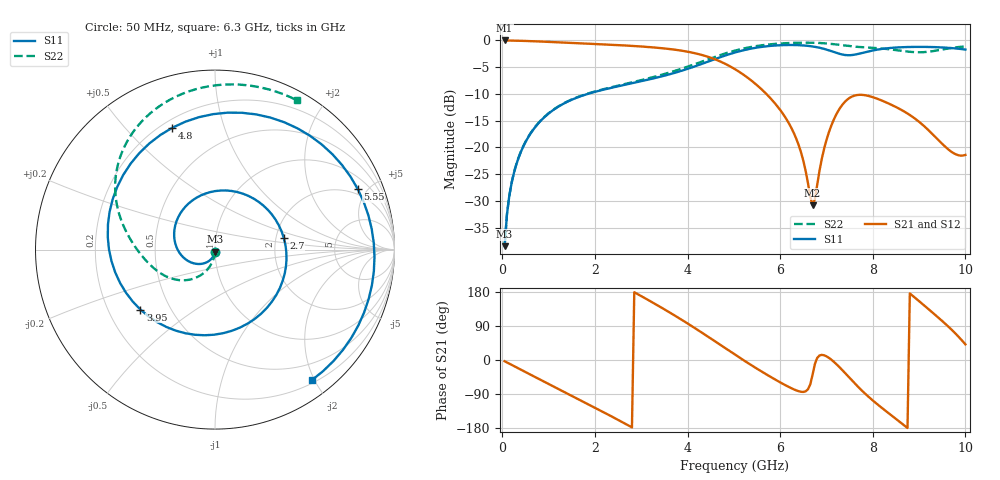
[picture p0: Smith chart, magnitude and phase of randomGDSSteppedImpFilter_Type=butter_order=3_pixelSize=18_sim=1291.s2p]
! freq	dB(S11)	phase(S11)	dB(S12)	phase(S12)
!  dB(S21)	phase(S21)	dB(S22)	phase(S22)
!S-par simulation data
#  GHz  S  DB  R 50
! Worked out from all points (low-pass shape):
!   200 points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, 50 MHz to 10 GHz, reference 50 ohm
!   highest |S21| = -0.01 dB at 50 MHz (marker M1); lowest = -30.8 dB at 6.7 GHz (marker M2)
!   |S21| within 3 dB of the highest: start of sweep to 4.422 GHz
!   lowest |S11| = -38.5 dB at 50 MHz (marker M3), VSWR 1.02, Z = 49.9 - j1.19 ohm
!   |S11| at or under -10 dB: start of sweep to 1.845 GHz
!   |S22| runs from -38.4 to -0.4 dB; largest |S21 - S12| = 0
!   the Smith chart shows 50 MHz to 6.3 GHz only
!   S11 on the Smith chart (normalised r, x): 50 MHz: 1.00, -0.02; 2.7 GHz: 2.21, +0.33; 3.95 GHz: 0.34, -0.32; 4.8 GHz: 0.24, +0.68; 5.55 GHz: 1.62, +4.32; 6.3 GHz: 0.24, -1.96
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0.05  -38.46 -92.9  -0.01 -3.2  -0.01 -3.2  -38.42 -90.4
0.2  -26.69 -107.7  -0.03 -12.8  -0.03 -12.8  -26.65 -97.8
0.5  -19.01 -134.6  -0.10 -31.8  -0.10 -31.8  -18.96 -109.8
1.15  -12.71 166.8  -0.33 -72.5  -0.33 -72.5  -12.66 -133.1
1.75  -10.26 109.7  -0.57 -110.0  -0.57 -110.0  -10.20 -150.9
2.7  -8.20 9.4  -0.97 -171.2  -0.97 -171.2  -8.05 -172.5
3.4  -6.82 -72.3  -1.41 140.9  -1.41 140.9  -6.52 173.5
3.95  -5.46 -141.3  -2.03 100.3  -2.03 100.3  -5.06 161.1
4.4  -4.10 160.3  -2.95 65.0  -2.95 65.0  -3.67 148.1
4.8  -2.86 109.2  -4.32 32.4  -4.32 32.4  -2.47 133.4
5.05  -2.19 78.9  -5.51 12.1  -5.51 12.1  -1.84 122.7
5.55  -1.27 23.1  -8.75 -26.8  -8.75 -26.8  -0.97 99.2
6.3  -0.86 -53.6  -17.40 -77.7  -17.40 -77.7  -0.46 61.1
6.7  -1.13 -100.2  -30.82 -39.0  -30.82 -39.0  -0.44 39.3
7.15  -2.14 -175.9  -14.96 -3.7  -14.96 -3.7  -0.70 13.0
7.55  -2.74 89.3  -10.50 -53.9  -10.50 -53.9  -1.12 -11.5
7.9  -2.07 20.6  -10.36 -96.1  -10.36 -96.1  -1.33 -35.9
8.35  -1.43 -33.7  -11.82 -141.1  -11.82 -141.1  -1.65 -77.8
8.7  -1.25 -62.6  -13.40 -174.6  -13.40 -174.6  -2.03 -122.5
9.1  -1.21 -89.8  -15.95 145.0  -15.95 145.0  -2.19 172.7
9.55  -1.34 -118.5  -19.75 97.4  -19.75 97.4  -1.62 100.6
10  -1.71 -148.9  -21.40 41.2  -21.40 41.2  -1.14 45.1
